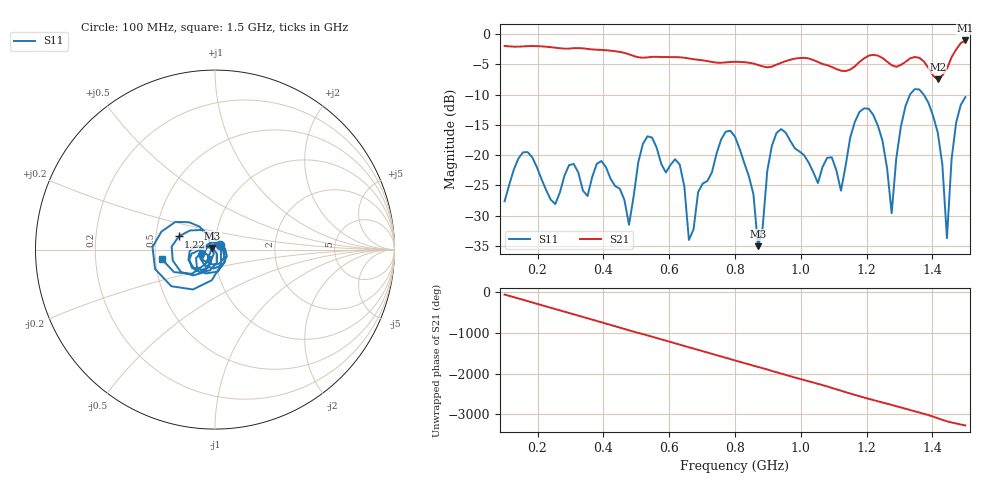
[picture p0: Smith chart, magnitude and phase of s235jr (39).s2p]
! NanoVNA-App
! Date: 2025-09-26 09:45:05
! Start: 100MHz Stop: 1,5GHz Points: 101
! S-Parameter data: F S11 S21 S12 S22
# Hz S RI R 50
!  Frequency  S11_Real  S11_Imag  S21_Real  S21_Imag  S12_Real  S12_Imag  S22_Real  S22_Imag
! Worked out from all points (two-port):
!   101 points, 100 MHz to 1.5 GHz, reference 50 ohm
!   highest |S21| = -1.05 dB at 1.5 GHz (marker M1); lowest = -7.5 dB at 1.416 GHz (marker M2)
!   |S21| within 3 dB of the highest: start of sweep to 662.2 MHz; 1.191 GHz to 1.25 GHz (59.17 MHz wide, 4.85 % of centre) (the widest 2 of 5)
!   lowest |S11| = -35.1 dB at 870 MHz (marker M3), VSWR 1.04, Z = 48.5 + j0.937 ohm
!   |S11| at or under -10 dB: start of sweep to 1.332 GHz; 1.373 GHz to end of sweep
!   S12 and S22 are empty: the file has one direction only
!   S11 on the Smith chart (normalised r, x): 100 MHz: 1.06, +0.06; 1.22 GHz: 0.66, +0.10; 1.5 GHz: 0.54, -0.06
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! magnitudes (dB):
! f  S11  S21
! 100 MHz  -27.7  -2.0
! 156 MHz  -19.5  -2.0
! 338 MHz  -25.9  -2.4
! 394 MHz  -21.0  -2.6
! 478 MHz  -31.5  -3.3
! 520 MHz  -18.2  -3.9
! 576 MHz  -21.5  -3.8
! 632 MHz  -21.6  -3.8
! 660 MHz  -34.0  -4.0
! 800 MHz  -17.0  -4.6
! 870 MHz  -35.1  -5.1
! 926 MHz  -16.4  -5.0
! 1.038 GHz  -22.8  -4.3
! 1.122 GHz  -25.9  -6.0
! 1.164 GHz  -14.5  -5.3
! 1.22 GHz  -13.4  -3.4
! 1.276 GHz  -29.6  -5.2
! 1.332 GHz  -10.0  -4.0
! 1.416 GHz  -16.3  -7.5
! 1.444 GHz  -33.8  -5.7
! 1.472 GHz  -14.6  -2.5
! 1.5 GHz  -10.4  -1.0
